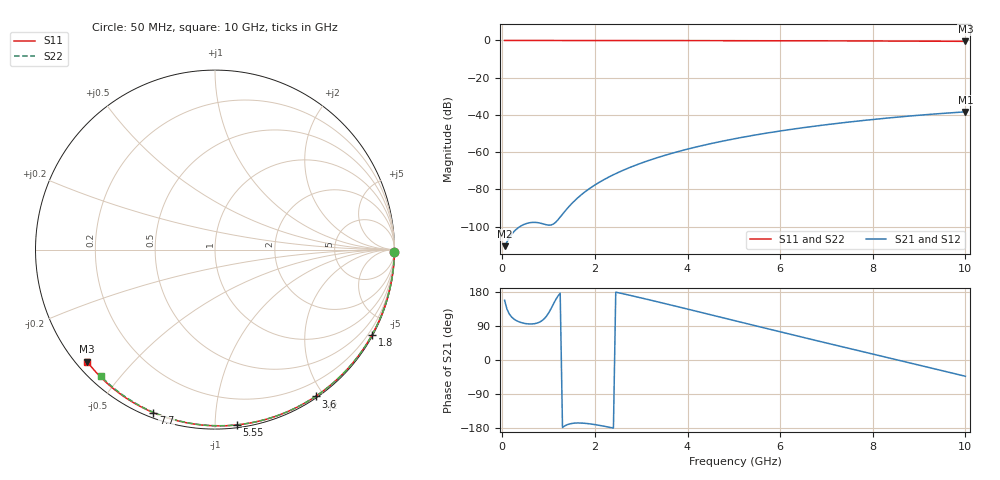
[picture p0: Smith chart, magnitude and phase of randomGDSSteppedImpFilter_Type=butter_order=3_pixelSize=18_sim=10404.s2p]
! freq	dB(S11)	phase(S11)	dB(S12)	phase(S12)
!  dB(S21)	phase(S21)	dB(S22)	phase(S22)
!S-par simulation data
#  GHz  S  DB  R 50
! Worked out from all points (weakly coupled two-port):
!   200 points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, 50 MHz to 10 GHz, reference 50 ohm
!   highest |S21| = -38.34 dB at 10 GHz (marker M1); lowest = -110.4 dB at 50 MHz (marker M2)
!   lowest |S11| = -0.5 dB at 10 GHz (marker M3), VSWR 36.69, Z = 1.55 - j18.8 ohm
!   |S11| at or under -10 dB: nowhere
!   |S22| runs from -0.4 to 0.0 dB; largest |S21 - S12| = 0
!   S11 on the Smith chart (normalised r, x): 50 MHz: open; 1.8 GHz: 0.03, -3.94; 3.6 GHz: 0.02, -1.90; 5.55 GHz: 0.02, -1.13; 7.7 GHz: 0.02, -0.69; 10 GHz: 0.03, -0.38
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0.05  -0.00 -0.8  -110.44 157.5  -110.44 157.5  -0.00 -0.8
0.45  -0.01 -7.2  -98.96 97.4  -98.96 97.4  -0.01 -6.9
0.9  -0.02 -14.4  -98.59 108.1  -98.59 108.1  -0.02 -13.6
1.75  -0.04 -27.7  -81.97 -166.7  -81.97 -166.7  -0.03 -26.3
1.8  -0.04 -28.5  -81.01 -167.2  -81.01 -167.2  -0.03 -27.0
1.85  -0.04 -29.2  -80.10 -167.9  -80.10 -167.9  -0.04 -27.8
2.15  -0.04 -33.9  -75.35 -173.6  -75.35 -173.6  -0.04 -32.2
2.35  -0.05 -36.9  -72.70 -178.4  -72.70 -178.4  -0.05 -35.1
2.55  -0.05 -40.0  -70.34 176.4  -70.34 176.4  -0.05 -38.0
2.95  -0.06 -46.0  -66.30 165.3  -66.30 165.3  -0.06 -43.7
3.4  -0.07 -52.7  -62.51 152.2  -62.51 152.2  -0.07 -50.1
3.6  -0.08 -55.6  -61.02 146.3  -61.02 146.3  -0.07 -52.9
3.9  -0.08 -60.0  -58.97 137.4  -58.97 137.4  -0.08 -57.0
4.3  -0.09 -65.7  -56.52 125.4  -56.52 125.4  -0.09 -62.5
5.05  -0.12 -76.2  -52.61 102.9  -52.61 102.9  -0.11 -72.5
5.55  -0.14 -83.0  -50.39 87.9  -50.39 87.9  -0.13 -79.0
6.1  -0.16 -90.3  -48.23 71.4  -48.23 71.4  -0.15 -86.0
6.7  -0.19 -98.1  -46.16 53.7  -46.16 53.7  -0.18 -93.4
7.7  -0.25 -110.7  -43.22 24.4  -43.22 24.4  -0.24 -105.5
8.35  -0.30 -118.8  -41.58 5.5  -41.58 5.5  -0.29 -113.1
9.2  -0.38 -129.1  -39.74 -19.3  -39.74 -19.3  -0.36 -122.9
10  -0.47 -138.8  -38.34 -42.9  -38.34 -42.9  -0.45 -132.0
